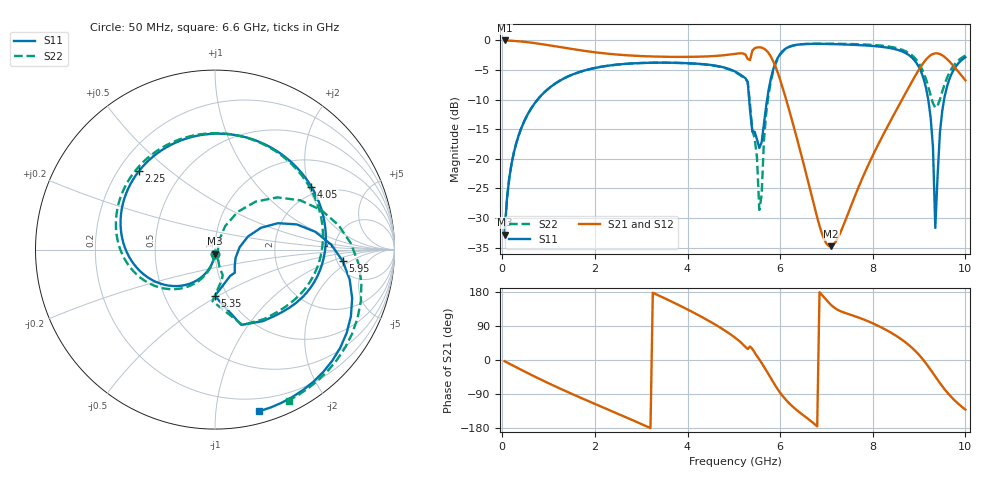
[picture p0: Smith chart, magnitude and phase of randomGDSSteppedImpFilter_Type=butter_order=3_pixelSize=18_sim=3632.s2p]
! freq	dB(S11)	phase(S11)	dB(S12)	phase(S12)
!  dB(S21)	phase(S21)	dB(S22)	phase(S22)
!S-par simulation data
#  GHz  S  DB  R 50
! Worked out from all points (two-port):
!   200 points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, 50 MHz to 10 GHz, reference 50 ohm
!   highest |S21| = 0.00 dB at 50 MHz (marker M1); lowest = -34.8 dB at 7.1 GHz (marker M2)
!   |S21| within 3 dB of the highest: start of sweep to 5.291 GHz; 5.36 GHz to 5.818 GHz (457.8 MHz wide, 8.19 % of centre) (the widest 2 of 3)
!   lowest |S11| = -32.8 dB at 50 MHz (marker M3), VSWR 1.05, Z = 49.8 - j2.28 ohm
!   |S11| at or under -10 dB: start of sweep to 762.2 MHz; 5.331 GHz to 5.719 GHz (387.2 MHz wide, 7.01 % of centre); 9.198 GHz to 9.54 GHz (342 MHz wide, 3.65 % of centre)
!   |S22| runs from -32.8 to -0.5 dB; largest |S21 - S12| = 0
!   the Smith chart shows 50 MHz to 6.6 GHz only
!   S11 on the Smith chart (normalised r, x): 50 MHz: 1.00, -0.05; 2.25 GHz: 0.28, +0.39; 4.05 GHz: 1.74, +2.08; 5.35 GHz: 0.87, -0.48; 5.95 GHz: 5.61, -1.48; 6.6 GHz: 0.09, -1.31
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0.05  -32.80 -93.5  -0.00 -3.2  -0.00 -3.2  -32.80 -93.2
0.2  -20.84 -103.7  -0.06 -12.8  -0.06 -12.8  -20.83 -102.6
0.5  -13.22 -123.5  -0.26 -31.6  -0.26 -31.6  -13.22 -120.6
1.75  -5.14 161.8  -1.74 -102.7  -1.74 -102.7  -5.13 171.6
2.25  -4.31 134.3  -2.22 -129.0  -2.22 -129.0  -4.30 146.6
3.4  -3.75 70.9  -2.74 169.0  -2.74 169.0  -3.76 86.5
4.05  -3.86 33.2  -2.77 130.2  -2.77 130.2  -3.88 47.5
5.05  -5.36 -33.6  -2.25 56.7  -2.25 56.7  -5.45 -28.4
5.35  -11.75 -90.2  -3.33 35.7  -3.33 35.7  -10.81 -92.8
5.55  -18.17 -21.9  -1.16 1.4  -1.16 1.4  -28.64 -69.0
5.7  -10.94 25.4  -1.67 -27.6  -1.67 -27.6  -12.22 59.0
5.95  -2.91 -5.2  -5.49 -77.7  -5.49 -77.7  -3.08 11.2
6.6  -0.59 -74.7  -23.72 -155.1  -23.72 -155.1  -0.58 -64.0
6.7  -0.58 -82.3  -26.85 -164.6  -26.85 -164.6  -0.56 -71.6
7.1  -0.62 -110.5  -34.76 145.3  -34.76 145.3  -0.55 -98.0
8.35  -1.26 159.2  -14.08 75.2  -14.08 75.2  -1.03 -168.5
8.8  -2.60 113.4  -7.60 37.3  -7.60 37.3  -2.23 161.6
9.15  -8.02 60.7  -3.23 -9.0  -3.23 -9.0  -6.56 137.3
9.3  -18.04 31.9  -2.28 -34.7  -2.28 -34.7  -10.62 147.0
9.35  -31.69 19.0  -2.18 -43.6  -2.18 -43.6  -11.36 158.6
9.55  -9.53 165.5  -2.79 -77.1  -2.79 -77.1  -7.42 -174.8
10  -2.85 103.6  -6.73 -130.9  -6.73 -130.9  -2.55 157.6
